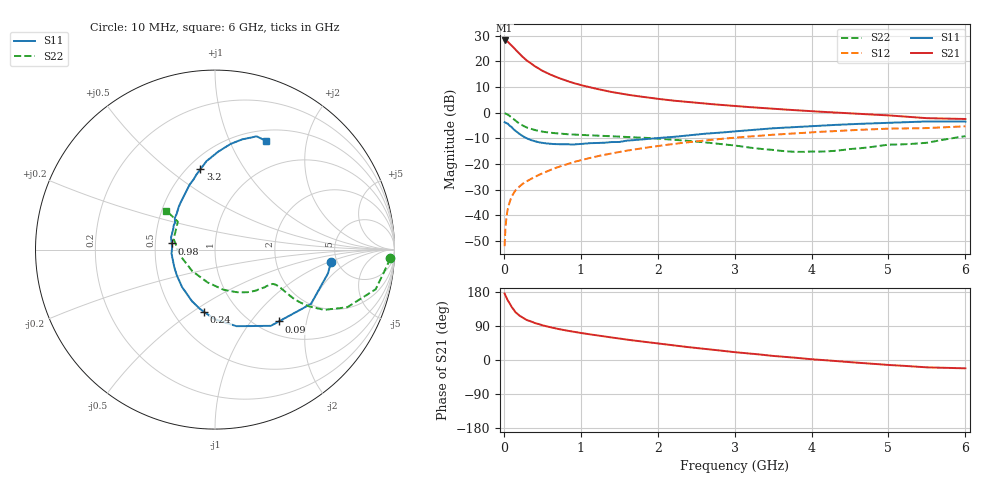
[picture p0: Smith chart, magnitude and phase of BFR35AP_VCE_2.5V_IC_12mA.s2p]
! Infineon Technologies  Discrete & RF Semiconductors
! BFR35AP
! VCE =  2.5 V,  IC =  12 mA
! Common Emitter S-Parameters:  Nov 2015
# GHz  S  MA  R  50
!  f  S11  S21  S12  S22
! GHz  MAG  ANG  MAG  ANG  MAG  ANG  MAG  ANG
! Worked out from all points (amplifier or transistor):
!   210 points, 10 MHz to 6 GHz, reference 50 ohm
!   highest |S21| = 28.1 dB at 10 MHz (marker M1)
!   |S21| within 3 dB of that: start of sweep to 133.2 MHz
!   unconditionally stable (mu >= 1): 487.4 MHz to 3.442 GHz
!   at 185 MHz: K = 0.62, MSG = 26.4 dB, |S12| = -29.3 dB
!   at 1.52 GHz: K = 1.12, MAG = 9.3 dB, |S12| = -15.2 dB
!   at 6 GHz: K = 0.97, MSG = 1.4 dB, |S12| = -5.3 dB
!   S11 on the Smith chart (normalised r, x): 10 MHz: 4.45, -1.08; 90 MHz: 1.24, -1.39; 240 MHz: 0.70, -0.56; 980 MHz: 0.61, +0.04; 3.2 GHz: 0.58, +0.65; 6 GHz: 0.63, +1.38
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0.01  0.6507 -6.2  25.45 175.2  0.0025 88.7  0.9776 -2.8
0.02  0.6428 -12.1  25.3 170.5  0.0054 85.3  0.96 -5.8
0.05  0.6142 -29.5  24.16 157.6  0.013 77.5  0.9219 -13.9
0.09  0.5355 -48.4  21.04 144.1  0.0209 70.1  0.826 -21.4
0.1  0.5265 -53.8  20.47 140.1  0.0229 69.1  0.8045 -23.5
0.15  0.4432 -74.3  16.95 126.4  0.0304 64.4  0.6947 -28.9
0.2  0.3883 -90.0  14.14 117.5  0.036 62.6  0.6133 -31.1
0.24  0.3531 -100.0  12.36 112.2  0.0404 62.1  0.5658 -31.7
0.3  0.3147 -114.1  10.32 105.3  0.0461 62.5  0.5114 -31.9
0.4  0.2779 -131.3  8.053 97.8  0.0557 63.8  0.4571 -31.0
0.5  0.2573 -145.3  6.541 91.6  0.0655 64.8  0.4249 -30.3
0.6  0.2474 -156.2  5.545 86.6  0.0758 65.4  0.4059 -30.0
0.7  0.2426 -166.4  4.808 82.1  0.0863 66.0  0.3932 -30.0
0.98  0.2435 171.9  3.507 72.0  0.116 65.2  0.3692 -31.5
1.02  0.2465 169.4  3.381 70.7  0.1202 65.0  0.367 -32.0
1.4  0.2668 149.6  2.523 59.4  0.1601 62.1  0.3474 -37.1
2.02  0.3216 127.3  1.841 43.1  0.2255 55.9  0.31 -48.7
3.1  0.4427 102.0  1.311 18.9  0.3336 42.4  0.2179 -81.9
3.2  0.4552 100.3  1.278 17.0  0.3426 41.0  0.208 -86.5
4.1  0.5558 86.6  1.044 0.6  0.4209 29.2  0.1737 -143.5
5.1  0.6405 74.7  0.861 -14.2  0.4889 15.2  0.2387 161.0
6  0.6691 64.8  0.751 -22.0  0.5409 5.1  0.3474 141.3
